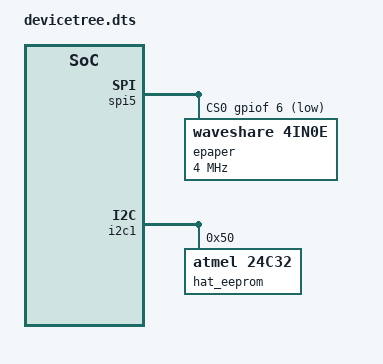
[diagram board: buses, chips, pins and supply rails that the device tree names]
#include <arm/st/stm32mp157c-dk2.dts>
#include <dt-bindings/gpio/gpio.h>

/ {
	aliases {
		epaper0 = &epaper;
	};

	sound {
		status = "disabled";
	};
};

&gpiof {
	gpio-line-names = "epaper-busy", "", "", "", "epaper-dc", "",
			  "epaper-cs", "", "", "", "", "", "", "", "", "";
};

&gpiog {
	gpio-line-names = "", "", "", "", "", "", "", "",
			  "epaper-reset", "", "", "", "", "", "", "";
};

&gpioi {
	gpio-line-names = "", "", "", "", "", "epaper-power", "", "",
			  "", "", "", "", "", "", "", "";
};

&cs42l51 {
	status = "disabled";
};

&sai2 {
	status = "disabled";
};

&spi5 {
	pinctrl-names = "default";
	pinctrl-0 = <&spi5_pins_a>;
	cs-gpios = <&gpiof 6 GPIO_ACTIVE_LOW>;
	status = "okay";

	epaper: display@0 {
		compatible = "waveshare,4in0e";
		reg = <0>;
		spi-max-frequency = <4000000>;
	};
};

&i2c1 {
	hat_eeprom: eeprom@50 {
		compatible = "atmel,24c32";
		reg = <0x50>;
		pagesize = <32>;
		read-only;
	};
};
